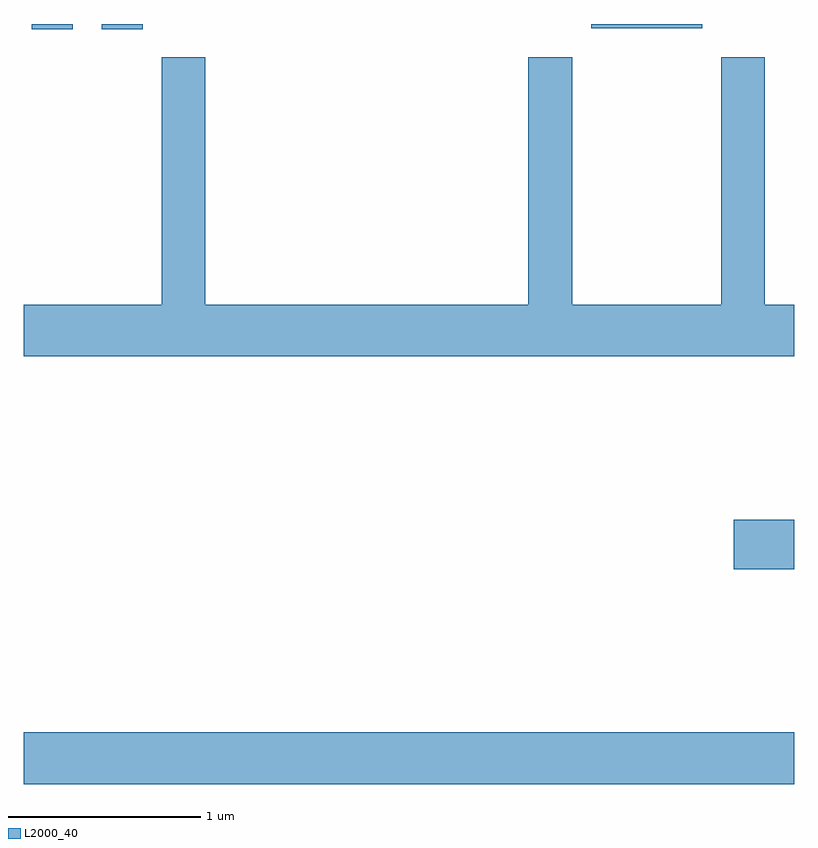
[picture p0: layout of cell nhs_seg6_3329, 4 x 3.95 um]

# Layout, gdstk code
import gdstk
lib = gdstk.Library(unit=1e-6, precision=1e-09)
def R(c, l, rs):  # rectangles x0, y0, x1, y1
    for r in rs: c.add(gdstk.rectangle(r[:2], r[2:], *l))
def P(c, l, *ps):  # polygons
    for p in ps: c.add(gdstk.Polygon(p, *l))
L2000_40 = (2000, 40)

nhs_seg6_3329 = lib.new_cell('nhs_seg6_3329')
R(nhs_seg6_3329, L2000_40, [(285.611,1592.216,289.611,1592.484), (289.296,1593.331,289.611,1593.589), (285.651,1596.136,285.864,1596.162), (286.016,1596.136,286.229,1596.162), (288.556,1596.141,289.134,1596.162)])
P(nhs_seg6_3329, L2000_40, [(289.611,1594.704),(289.459,1594.704),(289.459,1595.989),(289.231,1595.989),(289.231,1594.704),(288.459,1594.704),(288.459,1595.989),(288.231,1595.989),(288.231,1594.704),(286.554,1594.704),(286.554,1595.989),(286.326,1595.989),(286.326,1594.704),(285.611,1594.704),(285.611,1594.436),(289.611,1594.436)])

lib.write_gds('nhs_seg6_3329.gds')
